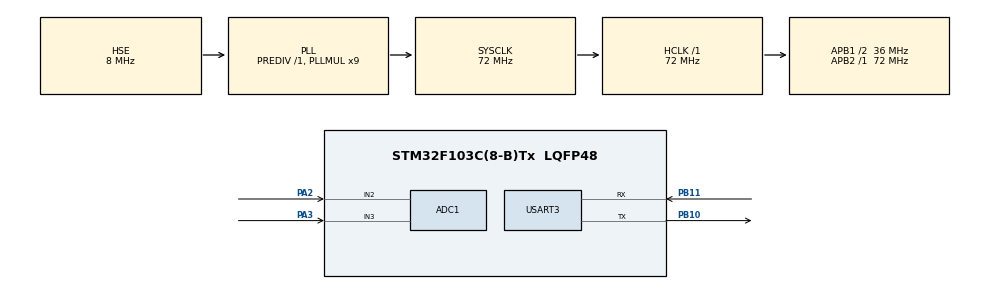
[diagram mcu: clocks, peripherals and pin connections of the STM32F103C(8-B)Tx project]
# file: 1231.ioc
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ADC1.Channel-0\#ChannelRegularConversion=ADC_CHANNEL_2
ADC1.Channel-1\#ChannelRegularConversion=ADC_CHANNEL_3
ADC1.ContinuousConvMode=ENABLE
ADC1.NbrOfConversion=2
ADC1.NbrOfConversionFlag=1
ADC1.Rank-0\#ChannelRegularConversion=1
ADC1.Rank-1\#ChannelRegularConversion=2
ADC1.SamplingTime-0\#ChannelRegularConversion=ADC_SAMPLETIME_55CYCLES_5
ADC1.SamplingTime-1\#ChannelRegularConversion=ADC_SAMPLETIME_55CYCLES_5
ADC1.master=1
Dma.ADC1.0.Direction=DMA_PERIPH_TO_MEMORY
Dma.ADC1.0.Instance=DMA1_Channel1
Dma.ADC1.0.MemDataAlignment=DMA_MDATAALIGN_WORD
Dma.ADC1.0.MemInc=DMA_MINC_ENABLE
Dma.ADC1.0.Mode=DMA_CIRCULAR
Dma.ADC1.0.PeriphDataAlignment=DMA_PDATAALIGN_WORD
Dma.ADC1.0.PeriphInc=DMA_PINC_DISABLE
Dma.ADC1.0.Priority=DMA_PRIORITY_LOW
Dma.Request0=ADC1
Mcu.Family=STM32F1
Mcu.Name=STM32F103C(8-B)Tx
Mcu.Package=LQFP48
NVIC.ADC1_2_IRQn=true\:0\:0\:false\:false\:true\:true\:true\:true
NVIC.DMA1_Channel1_IRQn=true\:0\:0\:false\:false\:true\:false\:true\:true
NVIC.PriorityGroup=NVIC_PRIORITYGROUP_4
NVIC.USART3_IRQn=true\:0\:0\:false\:false\:true\:true\:true\:true
PA2.Signal=ADCx_IN2
PA3.Signal=ADCx_IN3
PB10.Mode=Asynchronous
PB10.Signal=USART3_TX
PB11.Mode=Asynchronous
PB11.Signal=USART3_RX
PD0-OSC_IN.Mode=HSE-External-Oscillator
PD0-OSC_IN.Signal=RCC_OSC_IN
PD1-OSC_OUT.Mode=HSE-External-Oscillator
PD1-OSC_OUT.Signal=RCC_OSC_OUT
ProjectManager.HeapSize=0x200
ProjectManager.StackSize=0x400
ProjectManager.TargetToolchain=STM32CubeIDE
RCC.ADCPresc=RCC_ADCPCLK2_DIV6
RCC.AHBFreq_Value=72000000
RCC.APB1CLKDivider=RCC_HCLK_DIV2
RCC.APB1Freq_Value=36000000
RCC.APB1TimFreq_Value=72000000
RCC.APB2Freq_Value=72000000
RCC.APB2TimFreq_Value=72000000
RCC.HCLKFreq_Value=72000000
RCC.PLLMUL=RCC_PLL_MUL9
RCC.PLLSourceVirtual=RCC_PLLSOURCE_HSE
RCC.SYSCLKFreq_VALUE=72000000
RCC.SYSCLKSource=RCC_SYSCLKSOURCE_PLLCLK
RCC.USBFreq_Value=72000000
SH.ADCx_IN2.0=ADC1_IN2,IN2
SH.ADCx_IN3.0=ADC1_IN3,IN3
TIM2.Period=499
TIM2.Prescaler=7199
USART3.VirtualMode=VM_ASYNC
VP_TIM2_VS_ClockSourceINT.Mode=Internal
board=custom

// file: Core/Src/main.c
/* USER CODE BEGIN Header */
/**
  ******************************************************************************
  * @file           : main.c
  * @brief          : Main program body
  ******************************************************************************
  * @attention
  *
  * Copyright (c) 2023 STMicroelectronics.
  * All rights reserved.
  *
  * This software is licensed under terms that can be found in the LICENSE file
  * in the root directory of this software component.
  * If no LICENSE file comes with this software, it is provided AS-IS.
  *
  ******************************************************************************
  */
/* USER CODE END Header */
#include "main.h"

/* USER CODE BEGIN Includes */
#include "stdio.h"
#include "stdarg.h"
#include "string.h"
/* USER CODE END Includes */

/* USER CODE BEGIN PTD */
void u3_printf(const char* buf, ...);
/* USER CODE END PTD */

ADC_HandleTypeDef hadc1;
DMA_HandleTypeDef hdma_adc1;

TIM_HandleTypeDef htim2;

UART_HandleTypeDef huart3;

void SystemClock_Config(void);
static void MX_GPIO_Init(void);
static void MX_DMA_Init(void);
static void MX_ADC1_Init(void);
static void MX_USART3_UART_Init(void);
static void MX_TIM2_Init(void);

int main(void)
{

  /* MCU Configuration--------------------------------------------------------*/

  /* Reset of all peripherals, Initializes the Flash interface and the Systick. */
  HAL_Init();

  /* Configure the system clock */
  SystemClock_Config();

  /* Initialize all configured peripherals */
  MX_GPIO_Init();
  MX_DMA_Init();
  MX_ADC1_Init();
  MX_USART3_UART_Init();
  MX_TIM2_Init();
  /* USER CODE BEGIN 2 */
  uint32_t AD_DMA[2];
  float a, b;
  HAL_ADCEx_Calibration_Start(&hadc1);
  /* USER CODE END 2 */

  /* Infinite loop */
  /* USER CODE BEGIN WHILE */
  while (1)
  {
	  HAL_ADC_Start_DMA(&hadc1, AD_DMA, 2);
	  a = (float)AD_DMA[0];
	  b = (float)AD_DMA[1];
    /* USER CODE END WHILE */

    /* USER CODE BEGIN 3 */
	  u3_printf("%d ", AD_DMA[0]);
	  u3_printf("%d\r\n", AD_DMA[1]);
	  HAL_Delay(50);
  }
  /* USER CODE END 3 */
}

void SystemClock_Config(void)
{
  RCC_OscInitTypeDef RCC_OscInitStruct = {0};
  RCC_ClkInitTypeDef RCC_ClkInitStruct = {0};
  RCC_PeriphCLKInitTypeDef PeriphClkInit = {0};

  /** Initializes the RCC Oscillators according to the specified parameters
  * in the RCC_OscInitTypeDef structure.
  */
  RCC_OscInitStruct.OscillatorType = RCC_OSCILLATORTYPE_HSE;
  RCC_OscInitStruct.HSEState = RCC_HSE_ON;
  RCC_OscInitStruct.HSEPredivValue = RCC_HSE_PREDIV_DIV1;
  RCC_OscInitStruct.HSIState = RCC_HSI_ON;
  RCC_OscInitStruct.PLL.PLLState = RCC_PLL_ON;
  RCC_OscInitStruct.PLL.PLLSource = RCC_PLLSOURCE_HSE;
  RCC_OscInitStruct.PLL.PLLMUL = RCC_PLL_MUL9;
  if (HAL_RCC_OscConfig(&RCC_OscInitStruct) != HAL_OK)
  {
    Error_Handler();
  }

  /** Initializes the CPU, AHB and APB buses clocks
  */
  RCC_ClkInitStruct.ClockType = RCC_CLOCKTYPE_HCLK|RCC_CLOCKTYPE_SYSCLK
                              |RCC_CLOCKTYPE_PCLK1|RCC_CLOCKTYPE_PCLK2;
  RCC_ClkInitStruct.SYSCLKSource = RCC_SYSCLKSOURCE_PLLCLK;
  RCC_ClkInitStruct.AHBCLKDivider = RCC_SYSCLK_DIV1;
  RCC_ClkInitStruct.APB1CLKDivider = RCC_HCLK_DIV2;
  RCC_ClkInitStruct.APB2CLKDivider = RCC_HCLK_DIV1;

  if (HAL_RCC_ClockConfig(&RCC_ClkInitStruct, FLASH_LATENCY_2) != HAL_OK)
  {
    Error_Handler();
  }
  PeriphClkInit.PeriphClockSelection = RCC_PERIPHCLK_ADC;
  PeriphClkInit.AdcClockSelection = RCC_ADCPCLK2_DIV6;
  if (HAL_RCCEx_PeriphCLKConfig(&PeriphClkInit) != HAL_OK)
  {
    Error_Handler();
  }
}

static void MX_ADC1_Init(void)
{

  ADC_ChannelConfTypeDef sConfig = {0};

  /** Common config
  */
  hadc1.Instance = ADC1;
  hadc1.Init.ScanConvMode = ADC_SCAN_ENABLE;
  hadc1.Init.ContinuousConvMode = ENABLE;
  hadc1.Init.DiscontinuousConvMode = DISABLE;
  hadc1.Init.ExternalTrigConv = ADC_SOFTWARE_START;
  hadc1.Init.DataAlign = ADC_DATAALIGN_RIGHT;
  hadc1.Init.NbrOfConversion = 2;
  if (HAL_ADC_Init(&hadc1) != HAL_OK)
  {
    Error_Handler();
  }

  /** Configure Regular Channel
  */
  sConfig.Channel = ADC_CHANNEL_2;
  sConfig.Rank = ADC_REGULAR_RANK_1;
  sConfig.SamplingTime = ADC_SAMPLETIME_55CYCLES_5;
  if (HAL_ADC_ConfigChannel(&hadc1, &sConfig) != HAL_OK)
  {
    Error_Handler();
  }

  /** Configure Regular Channel
  */
  sConfig.Channel = ADC_CHANNEL_3;
  sConfig.Rank = ADC_REGULAR_RANK_2;
  if (HAL_ADC_ConfigChannel(&hadc1, &sConfig) != HAL_OK)
  {
    Error_Handler();
  }

}

static void MX_TIM2_Init(void)
{

  TIM_ClockConfigTypeDef sClockSourceConfig = {0};
  TIM_MasterConfigTypeDef sMasterConfig = {0};

  htim2.Instance = TIM2;
  htim2.Init.Prescaler = 7199;
  htim2.Init.CounterMode = TIM_COUNTERMODE_UP;
  htim2.Init.Period = 499;
  htim2.Init.ClockDivision = TIM_CLOCKDIVISION_DIV1;
  htim2.Init.AutoReloadPreload = TIM_AUTORELOAD_PRELOAD_DISABLE;
  if (HAL_TIM_Base_Init(&htim2) != HAL_OK)
  {
    Error_Handler();
  }
  sClockSourceConfig.ClockSource = TIM_CLOCKSOURCE_INTERNAL;
  if (HAL_TIM_ConfigClockSource(&htim2, &sClockSourceConfig) != HAL_OK)
  {
    Error_Handler();
  }
  sMasterConfig.MasterOutputTrigger = TIM_TRGO_RESET;
  sMasterConfig.MasterSlaveMode = TIM_MASTERSLAVEMODE_DISABLE;
  if (HAL_TIMEx_MasterConfigSynchronization(&htim2, &sMasterConfig) != HAL_OK)
  {
    Error_Handler();
  }

}

static void MX_USART3_UART_Init(void)
{

  huart3.Instance = USART3;
  huart3.Init.BaudRate = 115200;
  huart3.Init.WordLength = UART_WORDLENGTH_8B;
  huart3.Init.StopBits = UART_STOPBITS_1;
  huart3.Init.Parity = UART_PARITY_NONE;
  huart3.Init.Mode = UART_MODE_TX_RX;
  huart3.Init.HwFlowCtl = UART_HWCONTROL_NONE;
  huart3.Init.OverSampling = UART_OVERSAMPLING_16;
  if (HAL_UART_Init(&huart3) != HAL_OK)
  {
    Error_Handler();
  }

}

static void MX_DMA_Init(void)
{

  /* DMA controller clock enable */
  __HAL_RCC_DMA1_CLK_ENABLE();

  /* DMA interrupt init */
  /* DMA1_Channel1_IRQn interrupt configuration */
  HAL_NVIC_SetPriority(DMA1_Channel1_IRQn, 0, 0);
  HAL_NVIC_EnableIRQ(DMA1_Channel1_IRQn);

}

static void MX_GPIO_Init(void)
{

  /* GPIO Ports Clock Enable */
  __HAL_RCC_GPIOD_CLK_ENABLE();
  __HAL_RCC_GPIOA_CLK_ENABLE();
  __HAL_RCC_GPIOB_CLK_ENABLE();

}

/* USER CODE BEGIN 4 */
void u3_printf(const char* buf, ...)
{
  char str[255] = {0};
  va_list v;
  va_start(v, buf);
  vsprintf(str, buf, v); //使用可变参数的字符串打印。类似sprintf
  HAL_UART_Transmit(&huart3, (uint8_t*)str, strlen(str), 0xff);
  va_end(v);
}
/* USER CODE END 4 */

void Error_Handler(void)
{
  __disable_irq();
  while (1)
  {
  }
}
